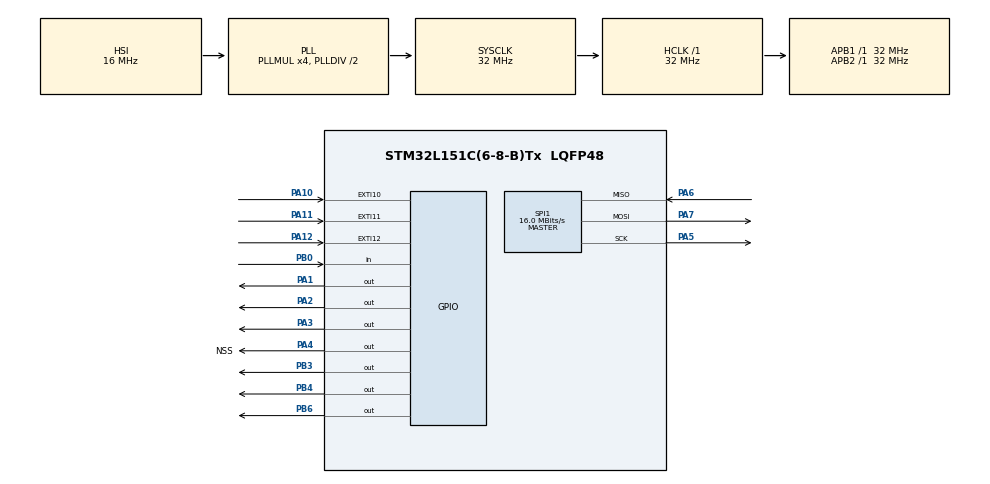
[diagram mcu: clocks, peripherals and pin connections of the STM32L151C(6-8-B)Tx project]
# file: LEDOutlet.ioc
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IWDG.Prescaler=IWDG_PRESCALER_256
IWDG.Reload=0x30d
Mcu.Family=STM32L1
Mcu.Name=STM32L151C(6-8-B)Tx
Mcu.Package=LQFP48
NVIC.EXTI15_10_IRQn=true\:0\:1\:false\:false\:true\:true
NVIC.PriorityGroup=NVIC_PRIORITYGROUP_2
NVIC.RCC_IRQn=true\:0\:3\:false\:false\:true\:true
NVIC.TIM3_IRQn=true\:0\:2\:false\:false\:true\:true
PA1.Signal=GPIO_Output
PA10.Signal=GPXTI10
PA11.Signal=GPXTI11
PA12.Signal=GPXTI12
PA13.Mode=Serial_Wire
PA13.Signal=SYS_JTMS-SWDIO
PA14.Mode=Serial_Wire
PA14.Signal=SYS_JTCK-SWCLK
PA2.Signal=GPIO_Output
PA3.Signal=GPIO_Output
PA4.GPIO_Label=NSS
PA4.GPIO_Speed=GPIO_SPEED_FREQ_HIGH
PA4.Signal=GPIO_Output
PA5.Mode=Full_Duplex_Master
PA5.Signal=SPI1_SCK
PA6.Mode=Full_Duplex_Master
PA6.Signal=SPI1_MISO
PA7.Mode=Full_Duplex_Master
PA7.Signal=SPI1_MOSI
PB0.Signal=GPIO_Input
PB3.Signal=GPIO_Output
PB4.Signal=GPIO_Output
PB6.Signal=GPIO_Output
PC14-OSC32_IN.Mode=LSE-External-Oscillator
PC14-OSC32_IN.Signal=RCC_OSC32_IN
PC15-OSC32_OUT.Mode=LSE-External-Oscillator
PC15-OSC32_OUT.Signal=RCC_OSC32_OUT
ProjectManager.HeapSize=0x200
ProjectManager.StackSize=0x400
ProjectManager.TargetToolchain=Makefile
RCC.48MHZClocksFreq_Value=32000000
RCC.AHBFreq_Value=32000000
RCC.APB1Freq_Value=32000000
RCC.APB1TimFreq_Value=32000000
RCC.APB2Freq_Value=32000000
RCC.APB2TimFreq_Value=32000000
RCC.HCLKFreq_Value=32000000
RCC.HSE_VALUE=24000000
RCC.HSI_VALUE=16000000
RCC.MSI_VALUE=2097000
RCC.PLLMUL=RCC_PLL_MUL4
RCC.RTCClockSelection=RCC_RTCCLKSOURCE_LSE
RCC.RTCClockSelectionVirtual=RCC_RTCCLKSOURCE_LSE
RCC.SYSCLKFreq_VALUE=32000000
RCC.SYSCLKSource=RCC_SYSCLKSOURCE_PLLCLK
RCC.VCOOutputFreq_Value=64000000
SPI1.CalculateBaudRate=16.0 MBits/s
SPI1.Direction=SPI_DIRECTION_2LINES
SPI1.Mode=SPI_MODE_MASTER
SPI1.VirtualType=VM_MASTER
TIM3.Period=2999
TIM3.Prescaler=9
VP_IWDG_VS_IWDG.Mode=IWDG_Activate
VP_RTC_VS_RTC_Activate.Mode=RTC_Enabled
VP_TIM3_VS_ClockSourceINT.Mode=Internal
board=LEDOutlet

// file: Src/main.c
/**
 ******************************************************************************
 * @file           : main.c
 * @brief          : Main program body
 ******************************************************************************
 ** This notice applies to any and all portions of this file
 * that are not between comment pairs USER CODE BEGIN and
 * USER CODE END. Other portions of this file, whether
 * inserted by the user or by software development tools
 * are owned by their respective copyright owners.
 *
 * COPYRIGHT(c) 2018 STMicroelectronics
 *
 * Redistribution and use in source and binary forms, with or without modification,
 * are permitted provided that the following conditions are met:
 *   1. Redistributions of source code must retain the above copyright notice,
 *      this list of conditions and the following disclaimer.
 *   2. Redistributions in binary form must reproduce the above copyright notice,
 *      this list of conditions and the following disclaimer in the documentation
 *      and/or other materials provided with the distribution.
 *   3. Neither the name of STMicroelectronics nor the names of its contributors
 *      may be used to endorse or promote products derived from this software
 *      without specific prior written permission.
 *
 * THIS SOFTWARE IS PROVIDED BY THE COPYRIGHT HOLDERS AND CONTRIBUTORS "AS IS"
 * AND ANY EXPRESS OR IMPLIED WARRANTIES, INCLUDING, BUT NOT LIMITED TO, THE
 * IMPLIED WARRANTIES OF MERCHANTABILITY AND FITNESS FOR A PARTICULAR PURPOSE ARE
 * DISCLAIMED. IN NO EVENT SHALL THE COPYRIGHT HOLDER OR CONTRIBUTORS BE LIABLE
 * FOR ANY DIRECT, INDIRECT, INCIDENTAL, SPECIAL, EXEMPLARY, OR CONSEQUENTIAL
 * DAMAGES (INCLUDING, BUT NOT LIMITED TO, PROCUREMENT OF SUBSTITUTE GOODS OR
 * SERVICES; LOSS OF USE, DATA, OR PROFITS; OR BUSINESS INTERRUPTION) HOWEVER
 * CAUSED AND ON ANY THEORY OF LIABILITY, WHETHER IN CONTRACT, STRICT LIABILITY,
 * OR TORT (INCLUDING NEGLIGENCE OR OTHERWISE) ARISING IN ANY WAY OUT OF THE USE
 * OF THIS SOFTWARE, EVEN IF ADVISED OF THE POSSIBILITY OF SUCH DAMAGE.
 *
 ******************************************************************************
 */
#include "main.h"
#include "stm32l1xx_hal.h"

/* USER CODE BEGIN Includes */
#include "UTIL_BASE.h"
#include "logic_controller.h"
#include "module_key.h"

/* USER CODE END Includes */

IWDG_HandleTypeDef hiwdg;

RTC_HandleTypeDef hrtc;

SPI_HandleTypeDef hspi1;

TIM_HandleTypeDef htim3;

/* USER CODE BEGIN PV */
/* Private variables ---------------------------------------------------------*/

/* USER CODE END PV */

void SystemClock_Config(void);
static void MX_GPIO_Init(void);
static void MX_RTC_Init(void);
static void MX_TIM3_Init(void);
static void MX_IWDG_Init(void);
static void MX_SPI1_Init(void);

/* USER CODE BEGIN PFP */
/* Private function prototypes -----------------------------------------------*/

/* USER CODE END PFP */

/* USER CODE BEGIN 0 */
void HAL_TIM_PeriodElapsedCallback(TIM_HandleTypeDef *htim) {
    if (htim == &htim3) {
        TIMER_interrupt();
    }
}

void HAL_GPIO_EXTI_Callback(uint16_t GPIO_Pin) {
    if (GPIO_Pin == DIO0_PIN) {
        CONTROLLER_interruptDIO0();
    } else if (GPIO_Pin == DIO1_PIN) {
        CONTROLLER_interruptDIO1();
    } else if (GPIO_Pin == KEY_PIN) {
        KEY_Interrupt();
    } else {
        return;
    }

    return;
}

void MAIN_feedWatchdog() { HAL_IWDG_Refresh(&hiwdg); }
/* USER CODE END 0 */

int main(void) {

    /* MCU Configuration----------------------------------------------------------*/

    /* Reset of all peripherals, Initializes the Flash interface and the Systick. */
    HAL_Init();

    /* Configure the system clock */
    SystemClock_Config();

    /* Initialize all configured peripherals */
    MX_GPIO_Init();
    MX_RTC_Init();
    MX_TIM3_Init();
    MX_IWDG_Init();
    MX_SPI1_Init();
    /* USER CODE BEGIN 2 */
    HAL_RTCEx_SetWakeUpTimer_IT(&hrtc, 60, RTC_WAKEUPCLOCK_CK_SPRE_16BITS);
    CONTROLLER_INIT();

    /* USER CODE END 2 */

    /* Infinite loop */
    while (1) {
        CONTROLLER_Loop();
    }
}

void SystemClock_Config(void) {

    RCC_OscInitTypeDef RCC_OscInitStruct;
    RCC_ClkInitTypeDef RCC_ClkInitStruct;
    RCC_PeriphCLKInitTypeDef PeriphClkInit;

    /**Configure the main internal regulator output voltage
     */
    __HAL_PWR_VOLTAGESCALING_CONFIG(PWR_REGULATOR_VOLTAGE_SCALE1);

    /**Initializes the CPU, AHB and APB busses clocks
     */
    RCC_OscInitStruct.OscillatorType =
        RCC_OSCILLATORTYPE_HSI | RCC_OSCILLATORTYPE_LSI | RCC_OSCILLATORTYPE_LSE;
    RCC_OscInitStruct.LSEState = RCC_LSE_ON;
    RCC_OscInitStruct.HSIState = RCC_HSI_ON;
    RCC_OscInitStruct.HSICalibrationValue = 16;
    RCC_OscInitStruct.LSIState = RCC_LSI_ON;
    RCC_OscInitStruct.PLL.PLLState = RCC_PLL_ON;
    RCC_OscInitStruct.PLL.PLLSource = RCC_PLLSOURCE_HSI;
    RCC_OscInitStruct.PLL.PLLMUL = RCC_PLL_MUL4;
    RCC_OscInitStruct.PLL.PLLDIV = RCC_PLL_DIV2;
    if (HAL_RCC_OscConfig(&RCC_OscInitStruct) != HAL_OK) {
        _Error_Handler(__FILE__, __LINE__);
    }

    /**Initializes the CPU, AHB and APB busses clocks
     */
    RCC_ClkInitStruct.ClockType =
        RCC_CLOCKTYPE_HCLK | RCC_CLOCKTYPE_SYSCLK | RCC_CLOCKTYPE_PCLK1 | RCC_CLOCKTYPE_PCLK2;
    RCC_ClkInitStruct.SYSCLKSource = RCC_SYSCLKSOURCE_PLLCLK;
    RCC_ClkInitStruct.AHBCLKDivider = RCC_SYSCLK_DIV1;
    RCC_ClkInitStruct.APB1CLKDivider = RCC_HCLK_DIV1;
    RCC_ClkInitStruct.APB2CLKDivider = RCC_HCLK_DIV1;

    if (HAL_RCC_ClockConfig(&RCC_ClkInitStruct, FLASH_LATENCY_1) != HAL_OK) {
        _Error_Handler(__FILE__, __LINE__);
    }

    PeriphClkInit.PeriphClockSelection = RCC_PERIPHCLK_RTC;
    PeriphClkInit.RTCClockSelection = RCC_RTCCLKSOURCE_LSE;
    if (HAL_RCCEx_PeriphCLKConfig(&PeriphClkInit) != HAL_OK) {
        _Error_Handler(__FILE__, __LINE__);
    }

    /**Configure the Systick interrupt time
     */
    HAL_SYSTICK_Config(HAL_RCC_GetHCLKFreq() / 1000);

    /**Configure the Systick
     */
    HAL_SYSTICK_CLKSourceConfig(SYSTICK_CLKSOURCE_HCLK);

    /* SysTick_IRQn interrupt configuration */
    HAL_NVIC_SetPriority(SysTick_IRQn, 0, 0);
}

/* IWDG init function */
static void MX_IWDG_Init(void) {

    hiwdg.Instance = IWDG;
    hiwdg.Init.Prescaler = IWDG_PRESCALER_256;
    hiwdg.Init.Reload = 0x30d;
    if (HAL_IWDG_Init(&hiwdg) != HAL_OK) {
        _Error_Handler(__FILE__, __LINE__);
    }
}

/* RTC init function */
static void MX_RTC_Init(void) {

    /**Initialize RTC Only
     */
    hrtc.Instance = RTC;
    hrtc.Init.HourFormat = RTC_HOURFORMAT_24;
    hrtc.Init.AsynchPrediv = 127;
    hrtc.Init.SynchPrediv = 255;
    hrtc.Init.OutPut = RTC_OUTPUT_DISABLE;
    hrtc.Init.OutPutPolarity = RTC_OUTPUT_POLARITY_HIGH;
    hrtc.Init.OutPutType = RTC_OUTPUT_TYPE_OPENDRAIN;
    if (HAL_RTC_Init(&hrtc) != HAL_OK) {
        _Error_Handler(__FILE__, __LINE__);
    }
}

/* SPI1 init function */
static void MX_SPI1_Init(void) {

    /* SPI1 parameter configuration*/
    hspi1.Instance = SPI1;
    hspi1.Init.Mode = SPI_MODE_MASTER;
    hspi1.Init.Direction = SPI_DIRECTION_2LINES;
    hspi1.Init.DataSize = SPI_DATASIZE_8BIT;
    hspi1.Init.CLKPolarity = SPI_POLARITY_LOW;
    hspi1.Init.CLKPhase = SPI_PHASE_1EDGE;
    hspi1.Init.NSS = SPI_NSS_SOFT;
    hspi1.Init.BaudRatePrescaler = SPI_BAUDRATEPRESCALER_2;
    hspi1.Init.FirstBit = SPI_FIRSTBIT_MSB;
    hspi1.Init.TIMode = SPI_TIMODE_DISABLE;
    hspi1.Init.CRCCalculation = SPI_CRCCALCULATION_DISABLE;
    hspi1.Init.CRCPolynomial = 10;
    if (HAL_SPI_Init(&hspi1) != HAL_OK) {
        _Error_Handler(__FILE__, __LINE__);
    }
}

/* TIM3 init function */
static void MX_TIM3_Init(void) {

    TIM_ClockConfigTypeDef sClockSourceConfig;
    TIM_MasterConfigTypeDef sMasterConfig;

    htim3.Instance = TIM3;
    htim3.Init.Prescaler = 9;
    htim3.Init.CounterMode = TIM_COUNTERMODE_UP;
    htim3.Init.Period = 2999;
    htim3.Init.ClockDivision = TIM_CLOCKDIVISION_DIV1;
    if (HAL_TIM_Base_Init(&htim3) != HAL_OK) {
        _Error_Handler(__FILE__, __LINE__);
    }

    sClockSourceConfig.ClockSource = TIM_CLOCKSOURCE_INTERNAL;
    if (HAL_TIM_ConfigClockSource(&htim3, &sClockSourceConfig) != HAL_OK) {
        _Error_Handler(__FILE__, __LINE__);
    }

    sMasterConfig.MasterOutputTrigger = TIM_TRGO_RESET;
    sMasterConfig.MasterSlaveMode = TIM_MASTERSLAVEMODE_DISABLE;
    if (HAL_TIMEx_MasterConfigSynchronization(&htim3, &sMasterConfig) != HAL_OK) {
        _Error_Handler(__FILE__, __LINE__);
    }
}

/** Configure pins as
 * Analog
 * Input
 * Output
 * EVENT_OUT
 * EXTI
 */
static void MX_GPIO_Init(void) {

    GPIO_InitTypeDef GPIO_InitStruct;

    /* GPIO Ports Clock Enable */
    __HAL_RCC_GPIOC_CLK_ENABLE();
    __HAL_RCC_GPIOA_CLK_ENABLE();
    __HAL_RCC_GPIOB_CLK_ENABLE();

    /*Configure GPIO pin Output Level */
    HAL_GPIO_WritePin(GPIOA, GPIO_PIN_1 | GPIO_PIN_2 | GPIO_PIN_3 | NSS_PIN, GPIO_PIN_RESET);

    /*Configure GPIO pin Output Level */
    HAL_GPIO_WritePin(GPIOB, GPIO_PIN_3 | GPIO_PIN_4 | GPIO_PIN_6, GPIO_PIN_RESET);

    /*Configure GPIO pins : PA1 PA2 PA3 */
    GPIO_InitStruct.Pin = GPIO_PIN_1 | GPIO_PIN_2 | GPIO_PIN_3;
    GPIO_InitStruct.Mode = GPIO_MODE_OUTPUT_PP;
    GPIO_InitStruct.Pull = GPIO_NOPULL;
    GPIO_InitStruct.Speed = GPIO_SPEED_FREQ_LOW;
    HAL_GPIO_Init(GPIOA, &GPIO_InitStruct);

    /*Configure GPIO pin : NSS_Pin */
    GPIO_InitStruct.Pin = NSS_PIN;
    GPIO_InitStruct.Mode = GPIO_MODE_OUTPUT_PP;
    GPIO_InitStruct.Pull = GPIO_NOPULL;
    GPIO_InitStruct.Speed = GPIO_SPEED_FREQ_HIGH;
    HAL_GPIO_Init(NSS_GPIO_PORT, &GPIO_InitStruct);

    /*Configure GPIO pin : PB0 */
    GPIO_InitStruct.Pin = GPIO_PIN_0;
    GPIO_InitStruct.Mode = GPIO_MODE_INPUT;
    GPIO_InitStruct.Pull = GPIO_NOPULL;
    HAL_GPIO_Init(GPIOB, &GPIO_InitStruct);

    /*Configure GPIO pins : PA10 PA11 PA12 */
    GPIO_InitStruct.Pin = GPIO_PIN_10 | GPIO_PIN_11 | GPIO_PIN_12;
    GPIO_InitStruct.Mode = GPIO_MODE_IT_RISING;
    GPIO_InitStruct.Pull = GPIO_NOPULL;
    HAL_GPIO_Init(GPIOA, &GPIO_InitStruct);

    /*Configure GPIO pins : PB3 PB4 PB6 */
    GPIO_InitStruct.Pin = GPIO_PIN_3 | GPIO_PIN_4 | GPIO_PIN_6;
    GPIO_InitStruct.Mode = GPIO_MODE_OUTPUT_PP;
    GPIO_InitStruct.Pull = GPIO_NOPULL;
    GPIO_InitStruct.Speed = GPIO_SPEED_FREQ_LOW;
    HAL_GPIO_Init(GPIOB, &GPIO_InitStruct);

    /* EXTI interrupt init*/
    HAL_NVIC_SetPriority(EXTI15_10_IRQn, 0, 1);
    HAL_NVIC_EnableIRQ(EXTI15_10_IRQn);
}

void _Error_Handler(char *file, int line) {
    while (1) {
    }
}

/************************ (C) COPYRIGHT STMicroelectronics *****END OF FILE****/
